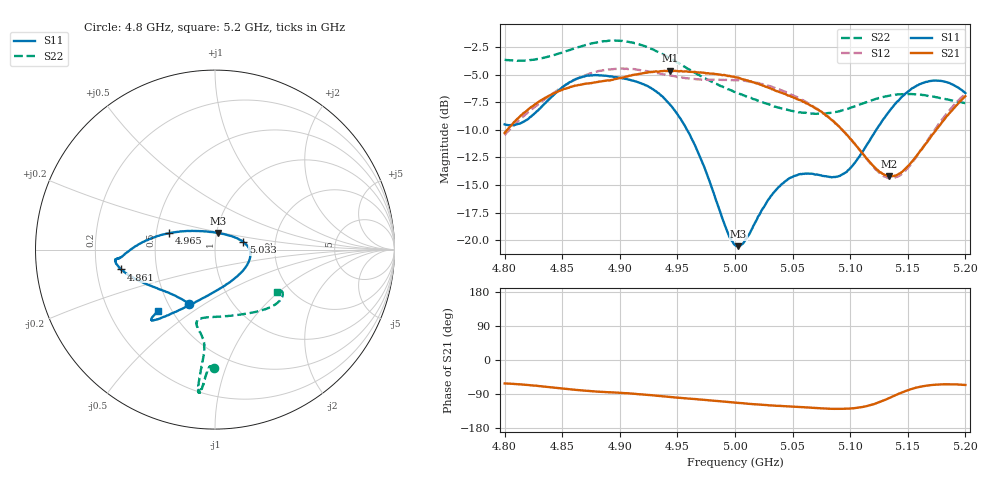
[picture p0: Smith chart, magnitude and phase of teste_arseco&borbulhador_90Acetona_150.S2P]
! Network Analyzer HP8722D
! Hewlett-Packard
! Data name: Linha & Wilkinson
! Saver's name: Rodrigo Anjos
! Comments: Teste da utilização de aquisição
! continua pelo VNA HP8722D
! Time and date: 17/4/2025 12:18
!  Frequency  S11  S21  S12  S22
# HZ  S  MA R 50
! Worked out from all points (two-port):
!   401 points, 4.8 GHz to 5.2 GHz, reference 50 ohm
!   highest |S21| = -4.64 dB at 4.944 GHz (marker M1); lowest = -14.2 dB at 5.134 GHz (marker M2)
!   |S21| within 3 dB of the highest: 4.827 GHz to 5.063 GHz (236.1 MHz wide, 4.77 % of centre); 5.193499 GHz to end of sweep
!   lowest |S11| = -20.5 dB at 5.003 GHz (marker M3), VSWR 1.21, Z = 50.9 + j9.49 ohm
!   |S11| at or under -10 dB: 4.958 GHz to 5.123 GHz (164.2 MHz wide, 3.26 % of centre)
!   |S22| runs from -8.6 to -1.9 dB; largest |S21 - S12| = 0.88
!   S11 on the Smith chart (normalised r, x): 4.8 GHz: 0.63, -0.43; 4.861 GHz: 0.31, -0.09; 4.965 GHz: 0.59, +0.12; 5.033 GHz: 1.37, +0.12; 5.2 GHz: 0.42, -0.37
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4.8e9  0.3349 -116.0  0.3064 -62.0  0.299 -176.2  0.657 -90.6
4.819e9  0.3507 -136.1  0.3851 -65.7  0.3743 -175.2  0.6523 -92.4
4.861e9  0.5344 -168.1  0.5014 -78.8  0.5328 -178.7  0.7395 -94.9
4.867e9  0.5477 -170.4  0.5082 -80.5  0.5508 -179.7  0.7567 -94.9
4.9e9  0.5439 -174.7  0.5423 -86.6  0.5971 173.9  0.8009 -96.5
4.934e9  0.462 179.3  0.5812 -94.8  0.5714 170.6  0.7081 -96.9
4.944e9  0.4099 174.5  0.5862 -97.8  0.5567 170.7  0.6654 -96.6
4.965e9  0.2711 160.2  0.5789 -103.2  0.5378 172.6  0.5737 -96.1
4.993e9  0.1106 114.3  0.5571 -110.4  0.5319 174.9  0.4863 -98.7
5e9  0.09513 90.3  0.5466 -112.4  0.5314 174.9  0.4693 -100.1
5.003e9  0.09408 79.2  0.5446 -113.2  0.5304 174.9  0.4626 -100.9
5.033e9  0.1631 15.4  0.4828 -120.1  0.4927 173.5  0.4057 -104.0
5.049e9  0.1927 -0.2  0.4465 -122.7  0.4562 173.1  0.3856 -99.7
5.067e9  0.2003 -19.4  0.4055 -126.1  0.4071 172.5  0.3746 -89.8
5.086e9  0.1936 -49.8  0.344 -128.9  0.344 173.0  0.3797 -75.2
5.097e9  0.2041 -72.2  0.3007 -128.6  0.3009 174.7  0.3927 -66.2
5.121e9  0.3062 -109.5  0.2145 -116.1  0.2126 -170.8  0.4348 -49.9
5.134e9  0.3843 -119.9  0.1948 -100.2  0.1907 -153.2  0.4518 -43.3
5.146e9  0.4517 -125.8  0.2062 -84.4  0.2021 -134.8  0.4596 -38.7
5.167e9  0.5217 -131.1  0.2791 -67.4  0.2825 -114.0  0.4514 -33.3
5.183e9  0.5216 -132.7  0.3596 -64.1  0.3705 -108.5  0.4353 -32.0
5.2e9  0.4641 -132.8  0.4494 -65.9  0.4597 -108.1  0.4176 -34.5
